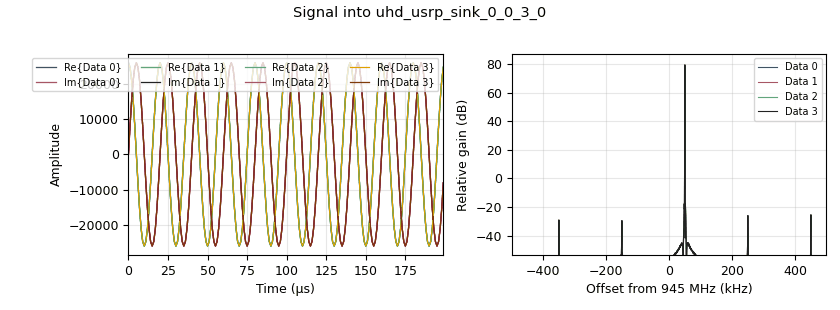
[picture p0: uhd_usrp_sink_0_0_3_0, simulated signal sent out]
options:
  parameters:
    category: Custom
    generate_options: qt_gui
    id: top_block
    output_language: python
  states: {}

blocks:
- name: HBTS
  id: variable_qtgui_chooser
  parameters:
    gui_hint: 2,4,1,1
    label: HB Test (2-6)
    label0: 'T2: 200MHz'
    label1: 'T3: 2.7GHz'
    label2: 'T4: 4GHz'
    label3: 'T5: 5.5GHz'
    label4: 'T6:  6.5GHz'
    num_opts: '5'
    option0: '0'
    option1: '1'
    option2: '2'
    option3: '3'
    option4: '4'
    type: int
    value: '0'
    widget: radio_buttons
  states: {}
- name: MagLabelA
  id: variable_qtgui_label
  parameters:
    gui_hint: 3,4,1,1
    label: 'Mag A: '
    type: real
    value: 10*numpy.log10(probeFuncA)
  states: {}
- name: MagLabelB
  id: variable_qtgui_label
  parameters:
    gui_hint: 4,4,1,1
    label: 'Mag B: '
    type: real
    value: 10*numpy.log10(probeFuncB)
  states: {}
- name: MagLabelC
  id: variable_qtgui_label
  parameters:
    gui_hint: 5,4,1,1
    label: 'Mag C: '
    type: real
    value: 10*numpy.log10(probeFuncC)
  states: {}
- name: MagLabelD
  id: variable_qtgui_label
  parameters:
    gui_hint: 6,4,1,1
    label: 'Mag D: '
    type: real
    value: 10*numpy.log10(probeFuncD)
  states: {}
- name: TS
  id: variable_qtgui_chooser
  parameters:
    gui_hint: 1,4,1,1
    label: Test Select
    label0: 'T1: Freq Dependance (All Different Freq)'
    label1: 'T2-T6: (Use Second Drop Down)'
    label2: 'T7: HB 7.5GHz'
    label3: 'T8: HB 8.5GHz'
    label4: 'T9: LB'
    num_opts: '5'
    option0: '0'
    option1: '1'
    option2: '2'
    option3: '3'
    option4: '4'
    type: int
    value: '0'
    widget: radio_buttons
  states: {}
- name: amp_all
  id: variable_qtgui_range
  parameters:
    gui_hint: 0,1,1,1
    label: Amp Sel
    start: '0'
    step: '100'
    stop: '32000'
    value: '26000'
  states: {}
- name: center_a
  id: variable
  parameters:
    value: (TS==0)*945000000+((TS==1)*(HBTS==0)*200000000)+((TS==1)*(HBTS==1)*2700000000)+((TS==1)*(HBTS==2)*4000000000)+((TS==1)*(HBTS==3)*5500000000)+((TS==1)*(HBTS==4)*6500000000)+((TS==2)*7500000000)+((TS==3)*8500000000)+((TS==4)*15000000)
  states: {}
- name: center_b
  id: variable
  parameters:
    value: (TS==0)*1045000000+((TS==1)*(HBTS==0)*200000000)+((TS==1)*(HBTS==1)*2700000000)+((TS==1)*(HBTS==2)*4000000000)+((TS==1)*(HBTS==3)*5500000000)+((TS==1)*(HBTS==4)*6500000000)+((TS==2)*7500000000)+((TS==3)*8500000000)+((TS==4)*15000000)
  states: {}
- name: center_c
  id: variable
  parameters:
    value: (TS==0)*1145000000+((TS==1)*(HBTS==0)*200000000)+((TS==1)*(HBTS==1)*2700000000)+((TS==1)*(HBTS==2)*4000000000)+((TS==1)*(HBTS==3)*5500000000)+((TS==1)*(HBTS==4)*6500000000)+((TS==2)*7500000000)+((TS==3)*8500000000)+((TS==4)*15000000)
  states: {}
- name: center_d
  id: variable
  parameters:
    value: (TS==0)*1245000000+((TS==1)*(HBTS==0)*200000000)+((TS==1)*(HBTS==1)*2700000000)+((TS==1)*(HBTS==2)*4000000000)+((TS==1)*(HBTS==3)*5500000000)+((TS==1)*(HBTS==4)*6500000000)+((TS==2)*7500000000)+((TS==3)*8500000000)+((TS==4)*15000000)
  states: {}
- name: disp_cent_a
  id: variable_qtgui_label
  parameters:
    gui_hint: 8,0,1,1
    label: Center A
    type: int
    value: center_a
  states: {state: disabled}
- name: disp_cent_b
  id: variable_qtgui_label
  parameters:
    gui_hint: 8,1,1,1
    label: Center B
    type: int
    value: center_b
  states: {state: disabled}
- name: disp_cent_c
  id: variable_qtgui_label
  parameters:
    gui_hint: 8,2,1,1
    label: Center C
    type: int
    value: center_c
  states: {state: disabled}
- name: disp_cent_d
  id: variable_qtgui_label
  parameters:
    gui_hint: 8,3,1,1
    label: Center D
    type: int
    value: center_d
  states: {state: disabled}
- name: freq_all
  id: variable_qtgui_range
  parameters:
    gui_hint: 0,0,1,1
    label: Freq Sel
    min_len: '2000'
    start: '-samp_rate/2'
    step: '1000'
    stop: samp_rate/2
    value: samp_rate/20
  states: {}
- name: gain
  id: variable
  parameters:
    value: gain_sel
  states: {}
- name: gain_sel
  id: variable_qtgui_range
  parameters:
    label: Gain Sel
    start: '0'
    step: '1'
    stop: '90'
    value: '20'
  states: {}
- name: probeFuncA
  id: variable_function_probe
  parameters:
    block_id: magProbeA
    function_name: level
    poll_rate: '10'
    value: '0'
  states: {}
- name: probeFuncB
  id: variable_function_probe
  parameters:
    block_id: magProbeB
    function_name: level
    poll_rate: '10'
    value: '0'
  states: {}
- name: probeFuncC
  id: variable_function_probe
  parameters:
    block_id: magProbeC
    function_name: level
    poll_rate: '10'
    value: '0'
  states: {}
- name: probeFuncD
  id: variable_function_probe
  parameters:
    block_id: magProbeD
    function_name: level
    poll_rate: '10'
    value: '0'
  states: {}
- name: samp_rate
  id: variable
  parameters:
    value: 325000000/325
  states: {}
- name: Tab
  id: qtgui_tab_widget
  parameters:
    gui_hint: 1,0,6,4
    label0: Freq Sink
    label1: Time Sink
    num_tabs: '2'
  states: {}
- name: analog_sig_source_x_0
  id: analog_sig_source_x
  parameters:
    amp: amp_all
    freq: freq_all
    offset: '0'
    phase: '0'
    samp_rate: 'samp_rate '
    type: complex
    waveform: analog.GR_COS_WAVE
  states: {}
- name: analog_sig_source_x_0_0
  id: analog_sig_source_x
  parameters:
    amp: amp_all
    freq: freq_all
    offset: '0'
    phase: '0'
    samp_rate: 'samp_rate '
    type: complex
    waveform: analog.GR_COS_WAVE
  states: {}
- name: analog_sig_source_x_0_0_0
  id: analog_sig_source_x
  parameters:
    amp: amp_all
    freq: freq_all
    offset: '0'
    phase: '0'
    samp_rate: 'samp_rate '
    type: complex
    waveform: analog.GR_COS_WAVE
  states: {}
- name: analog_sig_source_x_0_0_0_0
  id: analog_sig_source_x
  parameters:
    amp: amp_all
    freq: freq_all
    offset: '0'
    phase: '0'
    samp_rate: 'samp_rate '
    type: complex
    waveform: analog.GR_COS_WAVE
  states: {}
- name: blocks_complex_to_interleaved_short_0
  id: blocks_complex_to_interleaved_short
  parameters:
    scale_factor: '1.0'
    vector_output: 'True'
  states: {}
- name: blocks_complex_to_interleaved_short_0_0
  id: blocks_complex_to_interleaved_short
  parameters:
    scale_factor: '1.0'
    vector_output: 'True'
  states: {}
- name: blocks_complex_to_interleaved_short_0_0_0
  id: blocks_complex_to_interleaved_short
  parameters:
    scale_factor: '1.0'
    vector_output: 'True'
  states: {}
- name: blocks_complex_to_interleaved_short_0_0_0_0
  id: blocks_complex_to_interleaved_short
  parameters:
    scale_factor: '1.0'
    vector_output: 'True'
  states: {}
- name: blocks_interleaved_short_to_complex_0_0
  id: blocks_interleaved_short_to_complex
  parameters:
    scale_factor: '1.0'
    vector_input: 'True'
  states: {}
- name: blocks_interleaved_short_to_complex_0_0_0
  id: blocks_interleaved_short_to_complex
  parameters:
    scale_factor: '1.0'
    vector_input: 'True'
  states: {}
- name: blocks_interleaved_short_to_complex_0_0_1
  id: blocks_interleaved_short_to_complex
  parameters:
    scale_factor: '1.0'
    vector_input: 'True'
  states: {}
- name: blocks_interleaved_short_to_complex_0_0_2
  id: blocks_interleaved_short_to_complex
  parameters:
    scale_factor: '1.0'
    vector_input: 'True'
  states: {}
- name: import_0
  id: import
  parameters:
    imports: import numpy
  states: {}
- name: magProbeA
  id: analog_probe_avg_mag_sqrd_x
  parameters:
    alpha: '.01'
    threshold: '90'
    type: c
  states: {}
- name: magProbeB
  id: analog_probe_avg_mag_sqrd_x
  parameters:
    alpha: '0.01'
    threshold: '90'
    type: c
  states: {}
- name: magProbeC
  id: analog_probe_avg_mag_sqrd_x
  parameters:
    alpha: '0.01'
    threshold: '90'
    type: c
  states: {}
- name: magProbeD
  id: analog_probe_avg_mag_sqrd_x
  parameters:
    alpha: '0.01'
    threshold: '90'
    type: c
  states: {}
- name: qtgui_freq_sink_x_0_0
  id: qtgui_freq_sink_x
  parameters:
    bw: samp_rate
    fc: center_d
    fftsize: '1024'
    gui_hint: Tab@0:3,1,1,1
    name: '"D"'
    showports: 'True'
    tr_mode: qtgui.TRIG_MODE_AUTO
    type: complex
    ymax: '75'
    ymin: '-40'
  states: {}
- name: qtgui_freq_sink_x_0_0_0
  id: qtgui_freq_sink_x
  parameters:
    bw: samp_rate
    fc: center_c
    fftsize: '1024'
    gui_hint: Tab@0:3,0,1,1
    name: '"C"'
    showports: 'True'
    tr_mode: qtgui.TRIG_MODE_AUTO
    type: complex
    ymax: '75'
    ymin: '-40'
  states: {}
- name: qtgui_freq_sink_x_0_0_1
  id: qtgui_freq_sink_x
  parameters:
    bw: samp_rate
    fc: center_b
    fftsize: '1024'
    gui_hint: Tab@0:2,1,1,1
    name: '"B"'
    showports: 'True'
    tr_mode: qtgui.TRIG_MODE_AUTO
    type: complex
    ymax: '75'
    ymin: '-40'
  states: {}
- name: qtgui_freq_sink_x_0_0_2
  id: qtgui_freq_sink_x
  parameters:
    bw: samp_rate
    fc: center_a
    fftsize: '1024'
    gui_hint: Tab@0:2,0,1,1
    name: '"A"'
    showports: 'True'
    tr_mode: qtgui.TRIG_MODE_AUTO
    type: complex
    ymax: '75'
    ymin: '-40'
  states: {}
- name: qtgui_time_sink_x_0
  id: qtgui_time_sink_x
  parameters:
    autoscale: 'True'
    gui_hint: Tab@1:2,0,1,1
    label1: ''
    label2: ''
    name: '"A"'
    size: '1024'
    srate: samp_rate
    type: complex
  states: {}
- name: qtgui_time_sink_x_0_0
  id: qtgui_time_sink_x
  parameters:
    autoscale: 'True'
    gui_hint: Tab@1:2,1,1,1
    label1: ''
    label2: ''
    name: '"B"'
    size: '1024'
    srate: samp_rate
    type: complex
  states: {}
- name: qtgui_time_sink_x_0_1
  id: qtgui_time_sink_x
  parameters:
    autoscale: 'True'
    gui_hint: Tab@1:3,0,1,1
    label1: ''
    label2: ''
    name: '"C"'
    size: '1024'
    srate: samp_rate
    type: complex
  states: {}
- name: qtgui_time_sink_x_0_2
  id: qtgui_time_sink_x
  parameters:
    autoscale: 'True'
    gui_hint: Tab@1:3,1,1,1
    label1: ''
    label2: ''
    name: '"D"'
    size: '1024'
    srate: samp_rate
    type: complex
  states: {}
- name: uhd_usrp_sink_0_0_3_0
  id: uhd_usrp_sink
  parameters:
    ant0: ''
    ant1: ''
    ant2: ''
    ant3: ''
    center_freq0: center_a
    center_freq1: center_b
    center_freq2: center_c
    center_freq3: center_d
    clock_rate: 120e6
    clock_source0: internal
    dev_addr: ''
    dev_args: '"chestnut"'
    gain0: '30'
    gain1: '30'
    gain2: '30'
    gain3: '30'
    len_tag_name: ''
    nchan: '4'
    otw: sc16
    samp_rate: samp_rate
    stream_args: sc16
    stream_chans: '[0,1,2,3]'
    sync: sync
    type: sc16
  states: {}
- name: uhd_usrp_source_0_0
  id: uhd_usrp_source
  parameters:
    ant0: ''
    ant1: ''
    ant2: ''
    ant3: ''
    center_freq0: center_a
    center_freq1: center_b
    center_freq2: center_c
    center_freq3: center_d
    clock_rate: '0.0'
    clock_source0: internal
    dev_addr: ''
    gain0: gain
    gain1: gain
    gain2: gain
    gain3: gain
    nchan: '4'
    rx_agc2: Default
    rx_agc3: Default
    samp_rate: samp_rate
    stream_args: sc16
    stream_chans: '[0,1,2,3]'
    sync: sync
    type: sc16
  states: {}

connections:
- [analog_sig_source_x_0, '0', blocks_complex_to_interleaved_short_0, '0']
- [analog_sig_source_x_0_0, '0', blocks_complex_to_interleaved_short_0_0, '0']
- [analog_sig_source_x_0_0_0, '0', blocks_complex_to_interleaved_short_0_0_0, '0']
- [analog_sig_source_x_0_0_0_0, '0', blocks_complex_to_interleaved_short_0_0_0_0, '0']
- [blocks_complex_to_interleaved_short_0, '0', uhd_usrp_sink_0_0_3_0, '0']
- [blocks_complex_to_interleaved_short_0_0, '0', uhd_usrp_sink_0_0_3_0, '1']
- [blocks_complex_to_interleaved_short_0_0_0, '0', uhd_usrp_sink_0_0_3_0, '2']
- [blocks_complex_to_interleaved_short_0_0_0_0, '0', uhd_usrp_sink_0_0_3_0, '3']
- [blocks_interleaved_short_to_complex_0_0, '0', magProbeD, '0']
- [blocks_interleaved_short_to_complex_0_0, '0', qtgui_freq_sink_x_0_0, '0']
- [blocks_interleaved_short_to_complex_0_0, '0', qtgui_time_sink_x_0_2, '0']
- [blocks_interleaved_short_to_complex_0_0_0, '0', magProbeC, '0']
- [blocks_interleaved_short_to_complex_0_0_0, '0', qtgui_freq_sink_x_0_0_0, '0']
- [blocks_interleaved_short_to_complex_0_0_0, '0', qtgui_time_sink_x_0_1, '0']
- [blocks_interleaved_short_to_complex_0_0_1, '0', magProbeB, '0']
- [blocks_interleaved_short_to_complex_0_0_1, '0', qtgui_freq_sink_x_0_0_1, '0']
- [blocks_interleaved_short_to_complex_0_0_1, '0', qtgui_time_sink_x_0_0, '0']
- [blocks_interleaved_short_to_complex_0_0_2, '0', magProbeA, '0']
- [blocks_interleaved_short_to_complex_0_0_2, '0', qtgui_freq_sink_x_0_0_2, '0']
- [blocks_interleaved_short_to_complex_0_0_2, '0', qtgui_time_sink_x_0, '0']
- [uhd_usrp_source_0_0, '0', blocks_interleaved_short_to_complex_0_0_2, '0']
- [uhd_usrp_source_0_0, '1', blocks_interleaved_short_to_complex_0_0_1, '0']
- [uhd_usrp_source_0_0, '2', blocks_interleaved_short_to_complex_0_0_0, '0']
- [uhd_usrp_source_0_0, '3', blocks_interleaved_short_to_complex_0_0, '0']

metadata:
  file_format: 1
  grc_version: 3.10.8.0
